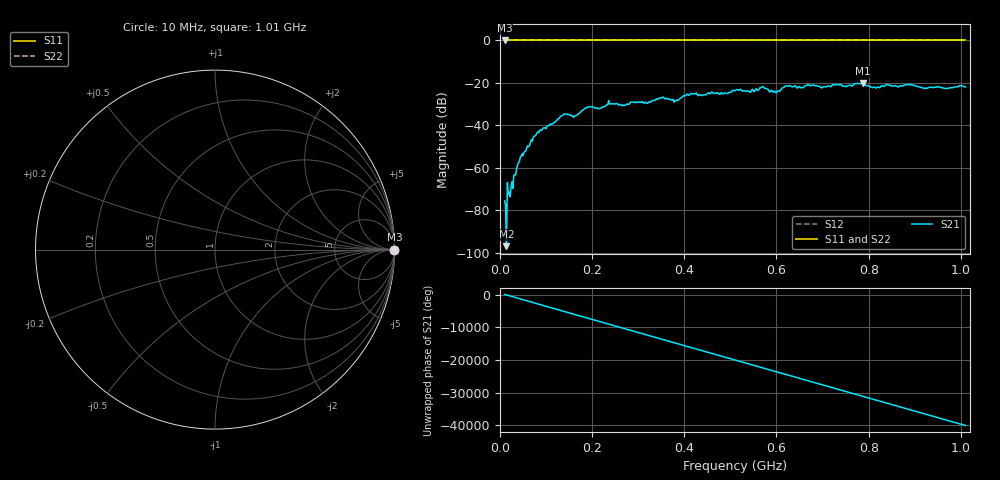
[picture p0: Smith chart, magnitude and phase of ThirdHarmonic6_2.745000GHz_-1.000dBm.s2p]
! 8/17/2025 6:50:10 AM
! C:\ANRITSUVNA\TEMP\TEMP.S2P
! CHANNEL.1
! TR.MEASUREMENT
! RAW.DATA
! RF.CORRECTION.OFF
! AVERAGING.OFF
! IF.BANDWIDTH: 5KHZ
! SWEEPTYPE:  FREQ.SWEEP(Linear)
! Reference Plane Port Info
! PORT:  PORT1  PORT2
! DISTANCE:  0  m  0  m
! TIME:  0  s  0  s
! PHASE.OFFSET:  0  deg.  0  deg.
! LOSS:  0  dB  0  dB
! REF.LOSS:  0  dB  0  dB
! REF.FREQ:  0  Hz  0  Hz
! Power Info
! POWER:  -20  dBm  -20  dBm
! EFF.POWER:  -20  dBm  -20  dBm
! SOURCE.ATTEN:  0  dB  0  dB
! TEST.ATTEN:  0  dB  0  dB
# GHZ S RI R 50.0
! FREQ.GHZ  S11RE  S11IM  S21RE  S21IM  S12RE  S12IM  S22RE  S22IM
!; PortSelection: Port_12
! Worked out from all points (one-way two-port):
!   501 points, 10 MHz to 1.01 GHz, reference 50 ohm
!   highest |S21| = -20.10 dB at 788 MHz (marker M1); lowest = -96.9 dB at 14 MHz (marker M2)
!   lowest |S11| = 0.0 dB at 10 MHz (marker M3)
!   |S11| at or under -10 dB: nowhere
!   |S22| runs from 0.0 to 0.0 dB; largest |S21 - S12| = 1.1
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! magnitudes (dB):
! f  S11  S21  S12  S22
! 10 MHz  0.0  -75.6  0.0  0.0
! 14 MHz  0.0  -96.9  0.0  0.0
! 24 MHz  0.0  -69.0  0.0  0.0
! 44 MHz  0.0  -55.0  0.0  0.0
! 78 MHz  0.0  -44.5  0.0  0.0
! 136 MHz  0.0  -35.3  0.0  0.0
! 162 MHz  0.0  -35.5  0.0  0.0
! 178 MHz  0.0  -33.1  0.0  0.0
! 240 MHz  0.0  -29.9  0.0  0.0
! 270 MHz  0.0  -30.4  0.0  0.0
! 344 MHz  0.0  -27.6  0.0  0.0
! 382 MHz  0.0  -28.2  0.0  0.0
! 416 MHz  0.0  -25.2  0.0  0.0
! 510 MHz  0.0  -23.7  0.0  0.0
! 570 MHz  0.0  -21.7  0.0  0.0
! 596 MHz  0.0  -23.9  0.0  0.0
! 624 MHz  0.0  -21.5  0.0  0.0
! 678 MHz  0.0  -21.1  0.0  0.0
! 788 MHz  0.0  -20.1  0.0  0.0
! 812 MHz  0.0  -22.0  0.0  0.0
! 844 MHz  0.0  -21.0  0.0  0.0
! 1.01 GHz  0.0  -22.0  0.0  0.0
